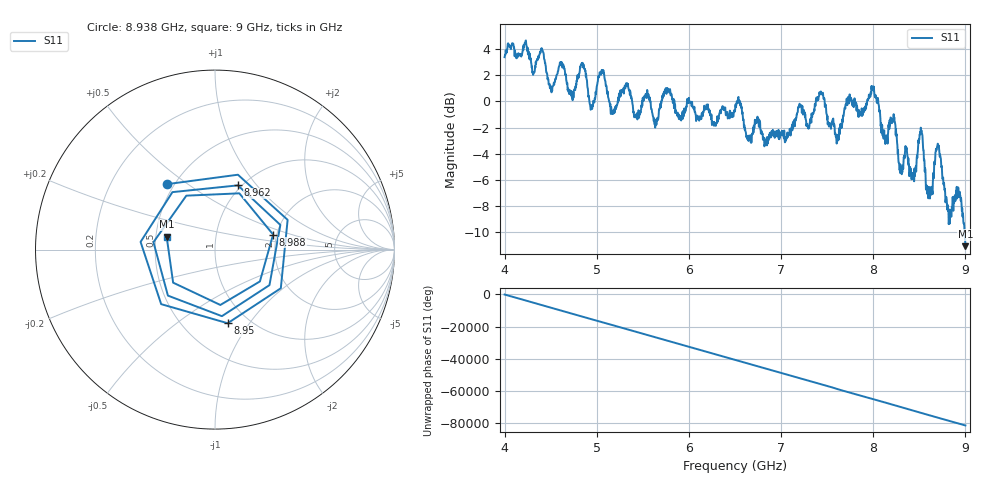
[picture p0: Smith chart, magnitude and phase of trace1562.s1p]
! Created with skrf 1.8.0 (http://scikit-rf.org).
# Hz S RI R 50.0
!freq ReS11 ImS11
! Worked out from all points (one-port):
!   1601 points, 4 GHz to 9 GHz, reference 50 ohm
!   lowest |S11| = -11.1 dB at 9 GHz (marker M1), VSWR 1.77, Z = 28.5 + j4.49 ohm
!   |S11| at or under -10 dB: 8.989941 GHz to end of sweep
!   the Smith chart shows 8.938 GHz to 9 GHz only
!   S11 on the Smith chart (normalised r, x): 8.938 GHz: 0.46, +0.42; 8.95 GHz: 0.80, -0.79; 8.962 GHz: 0.96, +0.81; 8.988 GHz: 1.91, +0.36; 9 GHz: 0.57, +0.09
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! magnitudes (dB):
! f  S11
! 4 GHz  3.4
! 4.503 GHz  0.9
! 4.625 GHz  2.8
! 4.725 GHz  0.8
! 4.853 GHz  2.6
! 4.944 GHz  -0.6
! 5.053 GHz  2.4
! 5.166 GHz  -0.8
! 5.25 GHz  0.5
! 5.875 GHz  -0.9
! 6.5 GHz  -0.8
! 6.653 GHz  -2.8
! 7.125 GHz  -1.9
! 7.434 GHz  0.6
! 7.609 GHz  -3.0
! 7.75 GHz  0.2
! 8.006 GHz  1.1
! 8.375 GHz  -4.3
! 8.441 GHz  -5.5
! 8.516 GHz  -2.0
! 8.597 GHz  -7.4
! 8.7 GHz  -3.2
! 8.825 GHz  -8.6
! 8.938 GHz  -6.9
! 8.95 GHz  -7.6
! 8.962 GHz  -8.4
! 8.988 GHz  -9.5
! 9 GHz  -11.1
